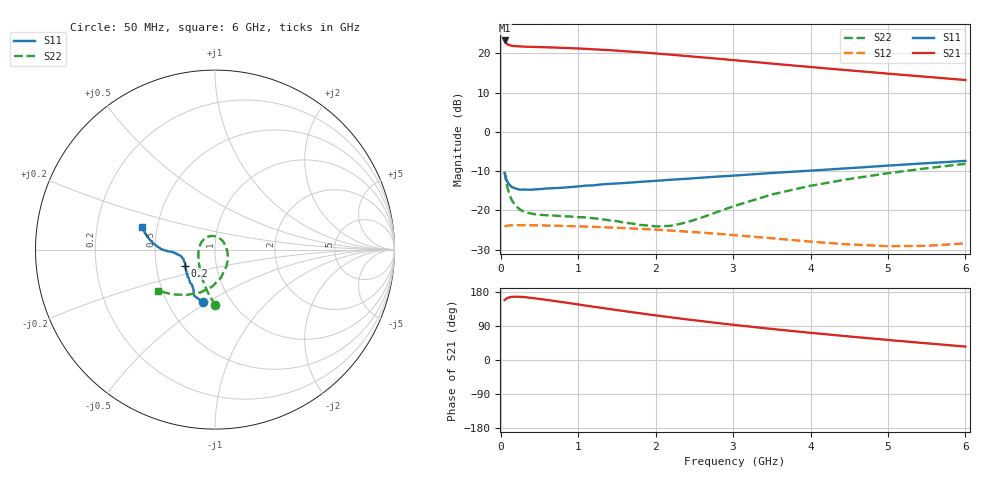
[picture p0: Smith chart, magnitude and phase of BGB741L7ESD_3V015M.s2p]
!  Infineon Technologies AG
!  BGB741L7ESD
!  Vce = 3.0V, Ic = 15.0mA
!  DATUM: 30.06.2009 10:00:14
# GHz  S  MA  R  50
!f  S11  S21  S12  S22
!GHz  Mag  Ang  Mag  Ang  Mag  Ang  Mag  Ang
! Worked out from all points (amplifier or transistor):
!   44 points, 50 MHz to 6 GHz, reference 50 ohm
!   highest |S21| = 23.3 dB at 50 MHz (marker M1)
!   |S21| within 3 dB of that: start of sweep to 1.795 GHz
!   unconditionally stable (mu >= 1): 197.9 MHz to end of sweep
!   at 120 MHz: K = 0.97, MSG = 23.0 dB, |S12| = -23.8 dB
!   at 1 GHz: K = 1.04, MAG = 21.5 dB, |S12| = -24.1 dB
!   at 6 GHz: K = 1.95, MAG = 15.2 dB, |S12| = -28.4 dB
!   S11 on the Smith chart (normalised r, x): 50 MHz: 0.74, -0.48; 200 MHz: 0.71, -0.13; 6 GHz: 0.41, +0.13
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0.05  0.3001 -103.3  14.66 158.4  0.06173 18.0  0.3102 -89.6
0.06  0.2814 -114.5  14 159.9  0.0627 14.9  0.2656 -95.5
0.07  0.2537 -118.2  13.55 161.6  0.06331 12.9  0.2339 -100.9
0.08  0.2337 -123.3  13.26 162.9  0.06373 11.1  0.2091 -105.7
0.1  0.2166 -131.4  12.89 164.6  0.06416 8.7  0.1747 -114.1
0.15  0.1972 -145.4  12.51 166.8  0.06467 5.3  0.1315 -130.9
0.2  0.1888 -151.4  12.38 167.1  0.06474 3.3  0.1125 -143.9
0.35  0.1836 -161.9  12.19 165.0  0.06466 0.4  0.09307 -171.9
0.7  0.1922 -168.7  11.91 155.4  0.06376 -3.1  0.08582 149.1
1.1  0.2068 -171.9  11.45 143.6  0.06213 -5.6  0.08153 116.0
1.4  0.2177 -173.8  11.02 134.7  0.06056 -7.1  0.07462 93.1
1.6  0.2235 -175.2  10.69 128.9  0.05938 -8.1  0.06963 76.1
1.9  0.2344 -176.4  10.19 120.4  0.05742 -9.2  0.06407 46.4
2.2  0.246 -177.3  9.653 112.5  0.05523 -10.0  0.06359 12.1
2.8  0.2697 -178.7  8.585 97.5  0.0503 -10.6  0.09589 -43.3
3  0.277 -178.8  8.236 92.9  0.04851 -10.4  0.1123 -55.4
3.5  0.2997 179.4  7.435 82.0  0.04414 -8.8  0.1595 -77.9
4  0.3211 177.0  6.724 71.7  0.04 -5.1  0.2059 -94.1
4.5  0.3451 174.3  6.091 62.1  0.03677 1.0  0.2512 -108.6
5  0.3721 170.8  5.537 52.9  0.03498 9.4  0.2975 -121.9
5.5  0.3995 166.8  5.038 44.1  0.03531 19.0  0.3445 -133.6
6  0.4275 162.8  4.591 35.4  0.03796 27.7  0.3926 -144.3
